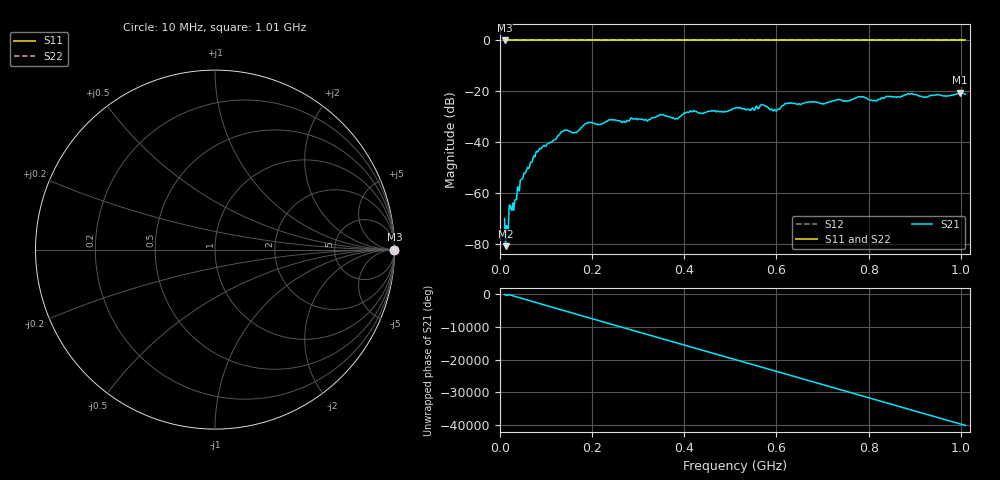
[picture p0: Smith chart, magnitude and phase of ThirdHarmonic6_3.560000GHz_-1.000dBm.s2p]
! 8/17/2025 11:46:24 AM
! C:\ANRITSUVNA\TEMP\TEMP.S2P
! CHANNEL.1
! TR.MEASUREMENT
! RAW.DATA
! RF.CORRECTION.OFF
! AVERAGING.OFF
! IF.BANDWIDTH: 5KHZ
! SWEEPTYPE:  FREQ.SWEEP(Linear)
! Reference Plane Port Info
! PORT:  PORT1  PORT2
! DISTANCE:  0  m  0  m
! TIME:  0  s  0  s
! PHASE.OFFSET:  0  deg.  0  deg.
! LOSS:  0  dB  0  dB
! REF.LOSS:  0  dB  0  dB
! REF.FREQ:  0  Hz  0  Hz
! Power Info
! POWER:  -20  dBm  -20  dBm
! EFF.POWER:  -20  dBm  -20  dBm
! SOURCE.ATTEN:  0  dB  0  dB
! TEST.ATTEN:  0  dB  0  dB
# GHZ S RI R 50.0
! FREQ.GHZ  S11RE  S11IM  S21RE  S21IM  S12RE  S12IM  S22RE  S22IM
!; PortSelection: Port_12
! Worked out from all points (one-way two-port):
!   501 points, 10 MHz to 1.01 GHz, reference 50 ohm
!   highest |S21| = -20.47 dB at 998 MHz (marker M1); lowest = -80.7 dB at 12 MHz (marker M2)
!   lowest |S11| = 0.0 dB at 10 MHz (marker M3)
!   |S11| at or under -10 dB: nowhere
!   |S22| runs from 0.0 to 0.0 dB; largest |S21 - S12| = 1.1
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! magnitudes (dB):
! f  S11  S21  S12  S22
! 10 MHz  0.0  -69.8  0.0  0.0
! 12 MHz  0.0  -80.7  0.0  0.0
! 16 MHz  0.0  -73.7  0.0  0.0
! 24 MHz  0.0  -66.1  0.0  0.0
! 32 MHz  0.0  -62.7  0.0  0.0
! 48 MHz  0.0  -54.4  0.0  0.0
! 82 MHz  0.0  -43.7  0.0  0.0
! 136 MHz  0.0  -35.7  0.0  0.0
! 162 MHz  0.0  -36.1  0.0  0.0
! 178 MHz  0.0  -33.9  0.0  0.0
! 194 MHz  0.0  -32.1  0.0  0.0
! 344 MHz  0.0  -29.6  0.0  0.0
! 382 MHz  0.0  -30.6  0.0  0.0
! 416 MHz  0.0  -28.0  0.0  0.0
! 510 MHz  0.0  -26.5  0.0  0.0
! 570 MHz  0.0  -25.2  0.0  0.0
! 596 MHz  0.0  -27.1  0.0  0.0
! 622 MHz  0.0  -24.7  0.0  0.0
! 678 MHz  0.0  -24.1  0.0  0.0
! 844 MHz  0.0  -22.0  0.0  0.0
! 998 MHz  0.0  -20.5  0.0  0.0
! 1.01 GHz  0.0  -21.1  0.0  0.0
